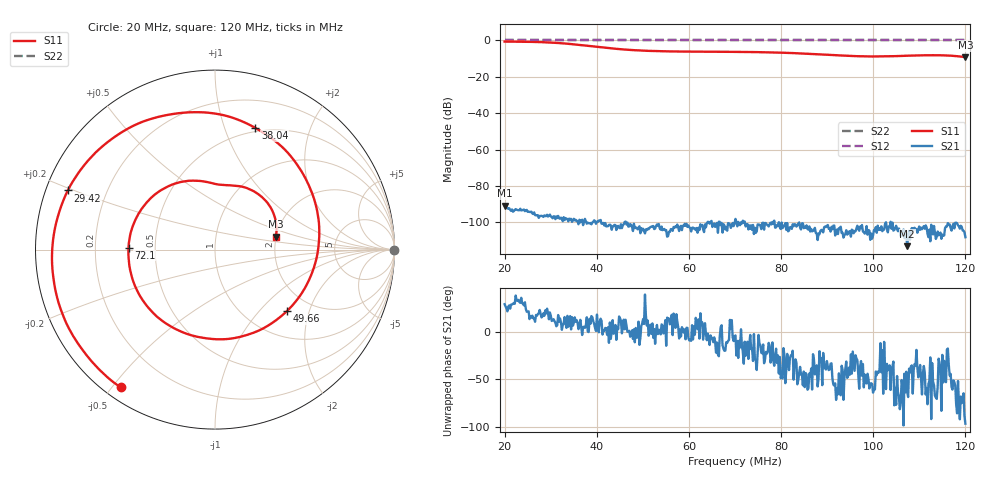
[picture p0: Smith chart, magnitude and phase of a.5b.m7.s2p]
! Anritsu VNA Master:  Model: MS2036C/10/77
! SN:  1601066
! /bd0/18may8/255.ns.m7.s2p
! Existing Calibration Information:
! TYPE:  Current Settings,  Active Cal Settings
! TIME:  05/08/2018 01:02:39 PM,  05/08/2018 01:00:27 PM
! INTERNAL TEMP:  60.0 C,  60.0 C
! # POINTS:  500,  500
! START FREQ:  20.000 MHz,  20.000 MHz
! STOP FREQ:  120.000 MHz,  120.000 MHz
! SOURCE POWER:  High,  High
! IFBW:  50 Hz,  50 Hz
! AVG FACTOR:  1 ,  1
! REF PLANE 1:  0 mm,  0 mm
! REF PLANE 2:  0 mm,  0 mm
! CAL TYPE:  Full S11,  Full S11
! CAL METHOD:  SOLT,  SOLT
! CAL LINE TYPE:  Coax,  Coax
! DUT PORT 1:  K-Conn(F),  K-Conn(F)
! DUT PORT 2:  K-Conn(F),  K-Conn(F)
! CAL STATUS:  OK: Accuracy High,  --
# GHZ S DB R 50.0
! FREQ.GHZ  S11DB  S11A  S21DB  S21A  S12DB  S12A  S22DB  S22A
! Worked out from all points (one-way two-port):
!   500 points, 20 MHz to 120 MHz, reference 50 ohm
!   highest |S21| = -90.81 dB at 20 MHz (marker M1); lowest = -113.1 dB at 107.4 MHz (marker M2)
!   lowest |S11| = -9.2 dB at 120 MHz (marker M3), VSWR 2.06, Z = 99.6 + j16.2 ohm
!   |S11| at or under -10 dB: nowhere
!   |S22| runs from 0.0 to 0.0 dB; largest |S21 - S12| = 1
!   S11 on the Smith chart (normalised r, x): 20 MHz: 0.05, -0.53; 29.42 MHz: 0.06, +0.19; 38.04 MHz: 0.46, +1.28; 49.66 MHz: 1.51, -1.44; 72.1 MHz: 0.35, +0.01; 120 MHz: 1.99, +0.32
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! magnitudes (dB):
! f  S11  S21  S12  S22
! 20 MHz  -0.6  -90.8  0.0  0.0
! 25.01 MHz  -0.7  -94.2  0.0  0.0
! 29.42 MHz  -1.1  -96.8  0.0  0.0
! 33.03 MHz  -1.7  -98.8  0.0  0.0
! 36.83 MHz  -2.6  -98.6  0.0  0.0
! 38.04 MHz  -2.9  -100.2  0.0  0.0
! 44.65 MHz  -4.7  -102.0  0.0  0.0
! 49.66 MHz  -5.6  -103.2  0.0  0.0
! 53.47 MHz  -5.9  -100.9  0.0  0.0
! 57.27 MHz  -6.1  -102.7  0.0  0.0
! 70.1 MHz  -6.3  -98.1  0.0  0.0
! 72.1 MHz  -6.3  -99.6  0.0  0.0
! 79.92 MHz  -6.7  -103.7  0.0  0.0
! 86.73 MHz  -7.4  -105.0  0.0  0.0
! 97.56 MHz  -8.7  -101.5  0.0  0.0
! 100.2 MHz  -8.8  -104.3  0.0  0.0
! 103.4 MHz  -8.7  -102.4  0.0  0.0
! 107.4 MHz  -8.4  -113.1  0.0  0.0
! 111 MHz  -8.2  -102.1  0.0  0.0
! 114.8 MHz  -8.2  -109.1  0.0  0.0
! 117.4 MHz  -8.5  -100.8  0.0  0.0
! 120 MHz  -9.2  -108.2  0.0  0.0
